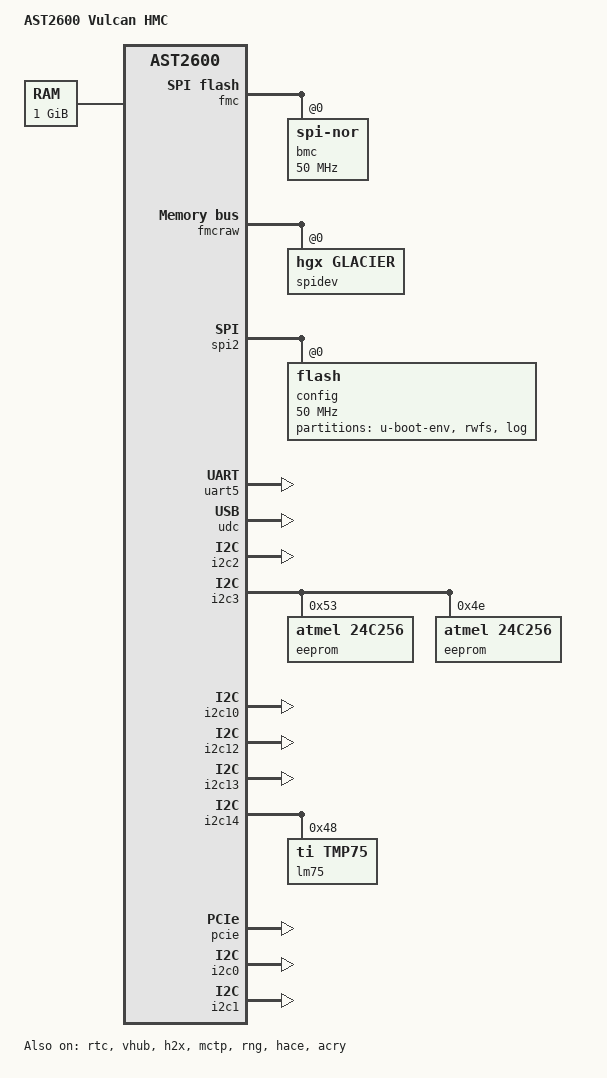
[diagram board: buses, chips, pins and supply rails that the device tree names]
// SPDX-License-Identifier: GPL-2.0+
/dts-v1/;

#include "aspeed-g6.dtsi"
#include <dt-bindings/gpio/aspeed-gpio.h>
#include <dt-bindings/leds/common.h>

/ {
	model = "AST2600 Vulcan HMC";
	compatible = "aspeed,ast2600";

	aliases {
		serial4 = &uart5;
	};

	chosen {
		stdout-path = &uart5;
		bootargs = "console=tty0 console=ttyS4,115200 earlyprintk";
	};

	memory@80000000 {
		reg = <0x80000000 0x40000000>;
	};

        power-gpios{
                n2-gpios = <&gpio0 ASPEED_GPIO(N, 2) (GPIO_ACTIVE_HIGH|GPIO_PULL_UP)>;
                n3-gpios = <&gpio0 ASPEED_GPIO(N, 3) (GPIO_ACTIVE_HIGH|GPIO_PULL_UP)>;
        };

	reserved-memory {
        #address-cells = <2>;
        #size-cells = <2>;
        ranges;

        ramoops@0xbc000000 {
                compatible = "ramoops";
                reg = <0 0xbc000000 0 0x100000>; // 1MB at 0xbc000000
                record-size = <0x10000>; // 64kB per record
                console-size = <0x10000>; // 64kB for console output
                pmsg-size = <0x1000>; // 4kB for user messages
        };
    };
};

&gpio0 {
        gpio-line-names =
        /*A0-A7*/       "","","","","","","","",
        /*B0-B7*/       "","","","","","","","",
        /*C0-C7*/       "","","","","","","","",
        /*D0-D7*/       "","","","","","","","",
        /*E0-E7*/       "","","","","","","","",
        /*F0-F7*/       "","","","","","","","",
        /*G0-G7*/       "","","","","","","","",
        /*H0-H7*/       "","","","","","","","",
        /*I0-I7*/       "","","","","","","","",
        /*J0-J7*/       "","","","","","","","",
        /*K0-K7*/       "","","","","","","","",
        /*L0-L7*/       "","","","","","","","",
        /*M0-M7*/       "","","","","","","","",
        /*N0-N7*/       "","","","fpga_ready","","","","",
        /*O0-O7*/       "","","","","","","","",
        /*P0-P7*/       "","","","","","","","",
        /*Q0-Q7*/       "","","","","","","","",
        /*R0-R7*/       "","","","","","","","",
        /*S0-S7*/       "","","","","","","","",
        /*T0-T7*/       "","","","","","","","",
        /*U0-U7*/       "","","","","","","","",
        /*V0-V7*/       "","","","","","","","",
        /*W0-W7*/       "","","","","","","","",
        /*X0-X7*/       "","","","","","","","",
        /*Y0-Y7*/       "","","","","","","","",
        /*Z0-Z7*/       "","","","","","","","";
};
&gpio1 {
        gpio-line-names =
        /*AA0-AA7*/     "","","","","","","","",
        /*AB0-AB7*/     "","","","","","","","",
        /*AC0-AC7*/     "","","","","","","","",
        /*AD0-AD7*/     "","","","","","","","",
        /*AE0-AE7*/     "","","","","","","","";
};

&fmc {
   status = "okay";
   flash@0 {
        status = "okay";
        compatible = "jedec,spi-nor";
        label = "bmc";
        spi-max-frequency = <50000000>;
#include "aspeed-bmc-nvidia-vulcan-flash-layout-64.dtsi"
   };
};

&fmcraw {
    status = "okay";
    spidev@0 {
        compatible = "hgx,glacier";
        status = "okay";
    };
};

&spi2 {
    status = "okay";
    pinctrl-names = "default";
    pinctrl-0 = <&pinctrl_spi2_default>;

    flash@0 {
        status = "okay";
        label = "config";
        spi-max-frequency = <50000000>;
        partitions {
            compatible = "fixed-partitions";
            #address-cells = <1>;
            #size-cells = <1>;

            u-boot-env@0 {
                reg = <0x0 0x40000>;         // 0.25 MB
                label = "u-boot-env";
            };

            rwfs@40000 {
                reg = <0x40000 0x1000000>;   // 16 MB
                label = "rwfs";
            };

            log@3800000 {
                reg = <0x3800000 0xc800000>; // 200 MB
                label = "log";
            };
        };
   };
};


&rtc {
        status = "okay";
};


&uart5 {
	// BMC Debug Console
	status = "okay";
};

/*
 * Enable port A as device (via the virtual hub) and port B as
 * host by default on the eval board. This can be easily changed
 * by replacing the override below with &ehci0 { ... } to enable
 * host on both ports.
 */
&vhub {
   status = "okay";
};
// USB 2.0 to HMC & Host BMC connectivity
&udc {
    status = "okay";
};

&i2c2 {
    status = "okay";

};

&i2c3 {
    status = "okay";
    // GPU Baseboard FRU
    eeprom@53 {
    compatible = "atmel,24c256";
    reg = <0x53>;
    };

    // HMC FRU
    eeprom@4e {
    compatible = "atmel,24c256";
    reg = <0x4E>;
    };
};

// Ethernet SW
&i2c10 {
    status = "okay";
};


&i2c12 {
    status = "okay";
};

&i2c13 {
    status = "okay";
};

&i2c14 {
    status = "okay";
    lm75@48 {
        compatible = "ti,tmp75";
        reg = <0x48>;
    };
};
// PCIe RC
&pcie {
        status = "okay";

        interrupts = <GIC_SPI 168 IRQ_TYPE_LEVEL_HIGH>;

        pcie_intc0: legacy-interrupt-controller {
                interrupts = <GIC_SPI 168 IRQ_TYPE_EDGE_RISING>;
        };
};
// Bridge between AHB bus and PCIe RC.
&h2x {
        status = "okay";
};

&mctp {
    status = "okay";
};

&rng {
    status = "okay";
};

// I2C between BMC and HMC
&i2c0 {
    status = "okay";

};
&i2c1 {
    status = "okay";

};

&hace {
	status = "okay";
	dummy-key1 = /bits/ 8 <0x86 0xD0 0x02 0x8D 0x1E 0x3D 0x44 0x0F 0x06 0x13 0xC7 0x6F 0xFC 0x4B 0x0B 0x22 0x75 0x1E 0x55 0x6E 0x5E 0x01 0x2E 0x6B 0x24 0x29 0x0B 0xBF 0xB8 0x29 0x90 0x8F>;
	dummy-key2 = /bits/ 8 <0xCD 0x83 0xBA 0x8D 0xD4 0x71 0x66 0x5E 0xC6 0x67 0xCC 0xE4 0x8C 0x7C 0xFC 0x40 0x0A 0xC5 0x00 0xB1 0x24 0xAC 0xF4 0x7C 0x3D 0x40 0x37 0x28 0xB0 0x3E 0x50 0x74>;
};

&acry {
	status = "okay";
};
